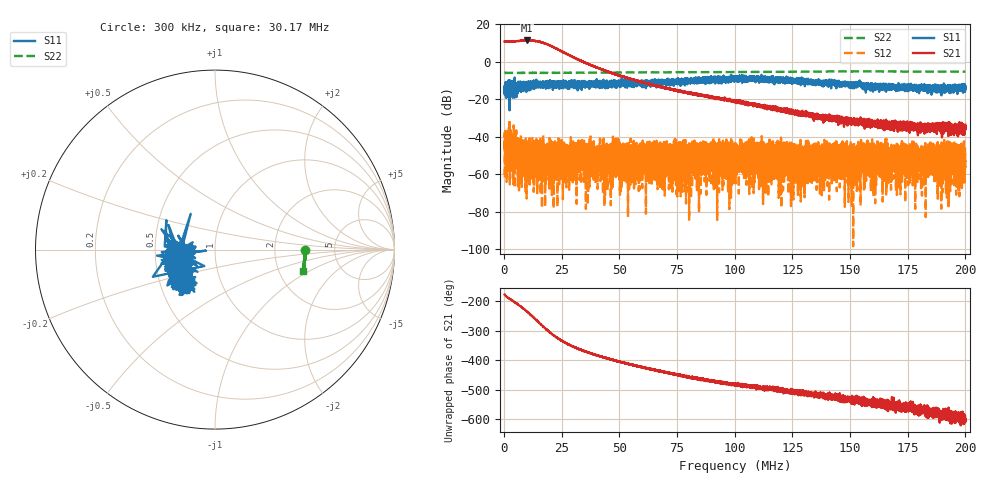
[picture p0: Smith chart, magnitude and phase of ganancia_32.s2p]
# Hz S DB R 50
! CMT, M5065, 19127446, 24.2.4/2
! Date: 11/8/2024 3:06:42 PM
! Data: Format (Calibration Info)
! Freq	S11:dB/Ang(F2)	S21:dB/Ang(F2)	S12:dB/Ang(F2)	S22:dB/Ang(F2)
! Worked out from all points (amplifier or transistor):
!   9000 points, 300 kHz to 200 MHz, reference 50 ohm
!   highest |S21| = 11.3 dB at 10.02 MHz (marker M1)
!   |S21| within 3 dB of that: start of sweep to 20.49 MHz
!   unconditionally stable (mu >= 1): start of sweep to end of sweep
!   at 33.59 MHz: K = 74.12, MAG = 1.9 dB, |S12| = -46.9 dB
!   at 100.2 MHz: K = 2074.81, MAG = -19.6 dB, |S12| = -54.8 dB
!   at 200 MHz: K = 5764.67, MAG = -31.9 dB, |S12| = -51.0 dB
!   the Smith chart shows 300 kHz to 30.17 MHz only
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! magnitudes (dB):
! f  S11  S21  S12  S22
! 300 kHz  -16.2  10.7  -46.6  -6.0
! 10.02 MHz  -12.4  11.3  -51.2  -6.0
! 17.99 MHz  -10.5  9.7  -61.6  -6.0
! 33.59 MHz  -12.3  0.4  -46.9  -5.9
! 38.96 MHz  -13.5  -2.5  -55.4  -5.8
! 48.57 MHz  -11.4  -6.7  -47.0  -5.8
! 51.23 MHz  -12.3  -7.8  -49.4  -5.8
! 66.87 MHz  -11.2  -13.2  -48.4  -5.7
! 77.35 MHz  -9.7  -15.8  -55.0  -5.6
! 80.23 MHz  -9.6  -16.8  -66.8  -5.6
! 89.71 MHz  -10.2  -18.8  -42.0  -5.6
! 100.2 MHz  -9.2  -21.6  -54.8  -5.6
! 103.2 MHz  -9.0  -21.6  -46.1  -5.5
! 113 MHz  -8.9  -24.2  -43.2  -5.5
! 133.4 MHz  -10.3  -28.9  -53.6  -5.3
! 145 MHz  -11.7  -30.1  -48.0  -5.2
! 151.6 MHz  -12.6  -31.0  -65.1  -5.2
! 154.6 MHz  -12.6  -31.6  -76.9  -5.2
! 160.4 MHz  -12.8  -32.1  -50.3  -5.2
! 162.3 MHz  -12.2  -32.3  -48.3  -5.2
! 166.7 MHz  -15.0  -33.8  -49.8  -5.2
! 200 MHz  -13.2  -33.6  -51.0  -5.4
